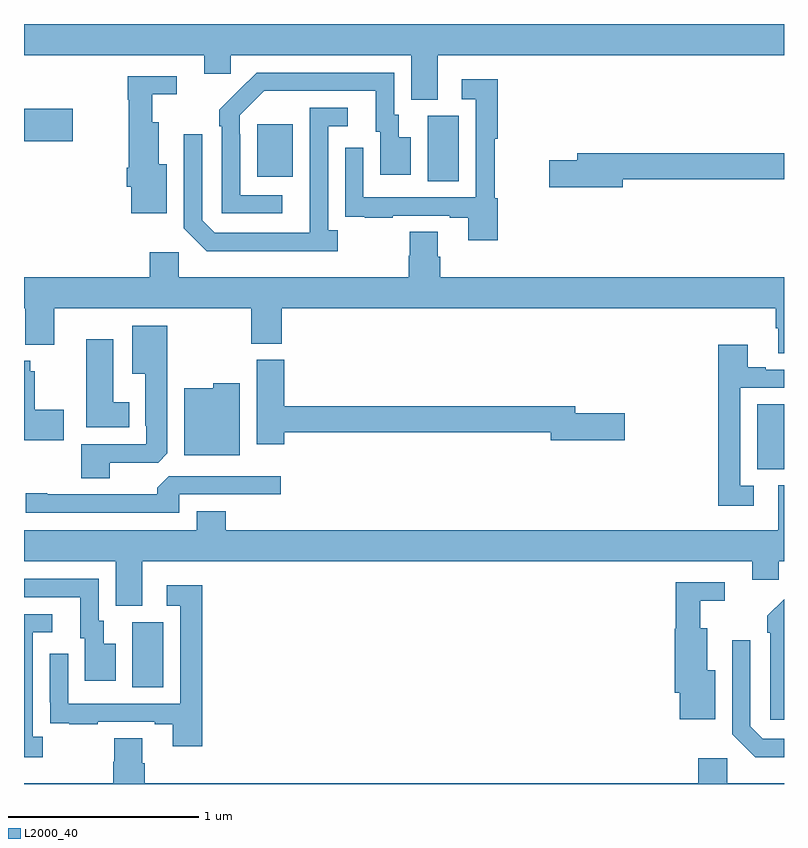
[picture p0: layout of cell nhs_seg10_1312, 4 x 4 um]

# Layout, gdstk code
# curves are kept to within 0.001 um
import gdstk
lib = gdstk.Library(unit=1e-6, precision=1e-09)
def R(c, l, rs):  # rectangles x0, y0, x1, y1
    for r in rs: c.add(gdstk.rectangle(r[:2], r[2:], *l))
def P(c, l, *ps):  # polygons
    for p in ps: c.add(gdstk.Polygon(p, *l))
L2000_40 = (2000, 40)

nhs_seg10_1312 = lib.new_cell('nhs_seg10_1312')
R(nhs_seg10_1312, L2000_40, [(179.57,1277.008,179.734,1277.352), (182.858,1278.157,183,1278.5), (181.124,1279.672,181.288,1280.016), (180.227,1279.697,180.415,1279.972), (179,1279.883,179.257,1280.053)])
P(nhs_seg10_1312, L2000_40, [(179,1280.336),(179.948,1280.336),(179.948,1280.238),(180.087,1280.238),(180.087,1280.336),(181.037,1280.336),(181.037,1280.101),(181.177,1280.101),(181.177,1280.336),(183,1280.336),(183,1280.5),(179,1280.5)],
  [(180.358,1279.599),(180.138,1279.599),(180.138,1279.919),(180.135,1279.919),(180.135,1280.019),(180.264,1280.148),(180.851,1280.148),(180.851,1279.932),(180.875,1279.932),(180.875,1279.707),(181.036,1279.707),(181.036,1279.903),(180.973,1279.903),(180.973,1280.022),(180.948,1280.022),(180.948,1280.244),(180.224,1280.244),(180.027,1280.049),(180.027,1279.961),(180.042,1279.961),(180.042,1279.503),(180.358,1279.503)],
  [(179.752,1279.762),(179.71,1279.762),(179.71,1279.984),(179.674,1279.984),(179.674,1280.129),(179.803,1280.129),(179.803,1280.226),(179.545,1280.226),(179.545,1280.102),(179.552,1280.102),(179.552,1279.744),(179.54,1279.744),(179.54,1279.644),(179.564,1279.644),(179.564,1279.505),(179.752,1279.505)],
  [(181.493,1279.584),(181.478,1279.584),(181.478,1279.896),(181.493,1279.896),(181.493,1280.209),(181.305,1280.209),(181.305,1280.103),(181.377,1280.103),(181.377,1279.587),(180.786,1279.587),(180.786,1279.849),(180.69,1279.849),(180.69,1279.594),(180.691,1279.594),(180.691,1279.485),(180.793,1279.485),(180.793,1279.479),(180.941,1279.479),(180.941,1279.491),(181.241,1279.491),(181.241,1279.479),(181.337,1279.479),(181.337,1279.362),(181.493,1279.362)],
  [(180.652,1279.414),(180.6,1279.414),(180.6,1279.962),(180.703,1279.962),(180.703,1280.058),(180.504,1280.058),(180.503,1279.401),(180.003,1279.401),(179.937,1279.467),(179.937,1279.921),(179.841,1279.921),(179.841,1279.425),(179.962,1279.304),(180.652,1279.304)],
  [(182.152,1279.684),(183,1279.684),(183,1279.82),(181.913,1279.82),(181.913,1279.784),(181.764,1279.784),(181.764,1279.642),(182.152,1279.642)],
  [(183,1279.168),(181.19,1279.168),(181.19,1279.274),(181.177,1279.274),(181.177,1279.406),(181.03,1279.406),(181.03,1279.281),(181.025,1279.281),(181.025,1279.168),(179.814,1279.168),(179.814,1279.3),(179.663,1279.3),(179.663,1279.168),(179,1279.168),(179,1279.004),(179.006,1279.004),(179.006,1278.812),(179.158,1278.812),(179.158,1279.004),(180.196,1279.004),(180.196,1278.817),(180.356,1278.817),(180.356,1279.004),(182.957,1279.004),(182.957,1278.898),(182.969,1278.898),(182.969,1278.766),(183,1278.766)],
  [(179.452,1278.192),(179.706,1278.192),(179.755,1278.241),(179.755,1278.913),(179.57,1278.913),(179.57,1278.659),(179.639,1278.659),(179.639,1278.385),(179.643,1278.385),(179.643,1278.288),(179.3,1278.288),(179.3,1278.109),(179.452,1278.109)],
  [(179.554,1278.508),(179.47,1278.508),(179.47,1278.841),(179.327,1278.841),(179.327,1278.377),(179.554,1278.377)],
  [(182.842,1278.069),(182.769,1278.069),(182.769,1278.585),(183,1278.585),(183,1278.681),(182.905,1278.681),(182.905,1278.694),(182.809,1278.694),(182.809,1278.811),(182.653,1278.811),(182.653,1277.964),(182.842,1277.964)],
  [(180.371,1278.352),(181.772,1278.352),(181.772,1278.31),(182.161,1278.31),(182.161,1278.452),(181.9,1278.452),(181.9,1278.488),(180.371,1278.488),(180.371,1278.732),(180.224,1278.732),(180.224,1278.288),(180.371,1278.288)],
  [(179.209,1278.471),(179.056,1278.471),(179.056,1278.673),(179.034,1278.673),(179.034,1278.727),(179,1278.727),(179,1278.308),(179.209,1278.308)],
  [(180.136,1278.61),(179.997,1278.61),(179.997,1278.583),(179.843,1278.583),(179.843,1278.23),(180.136,1278.23)],
  [(179.817,1278.024),(180.352,1278.024),(180.352,1278.12),(179.763,1278.12),(179.702,1278.058),(179.702,1278.024),(179.122,1278.024),(179.122,1278.029),(179.01,1278.029),(179.01,1277.928),(179.817,1277.928)],
  [(179.623,1277.672),(182.834,1277.672),(182.834,1277.574),(182.973,1277.574),(182.973,1277.672),(183,1277.672),(183,1278.072),(182.969,1278.072),(182.969,1277.836),(180.062,1277.836),(180.062,1277.935),(179.909,1277.935),(179.909,1277.836),(179,1277.836),(179,1277.672),(179.483,1277.672),(179.483,1277.437),(179.623,1277.437)],
  [(179.482,1277.239),(179.419,1277.239),(179.419,1277.358),(179.394,1277.358),(179.394,1277.58),(179,1277.58),(179,1277.484),(179.297,1277.484),(179.297,1277.268),(179.321,1277.268),(179.321,1277.043),(179.482,1277.043)],
  [(182.638,1277.098),(182.596,1277.098),(182.596,1277.32),(182.56,1277.32),(182.56,1277.465),(182.689,1277.465),(182.689,1277.562),(182.431,1277.562),(182.431,1277.316),(182.426,1277.316),(182.426,1276.98),(182.45,1276.98),(182.45,1276.841),(182.638,1276.841)],
  [(179.939,1277.545),(179.751,1277.545),(179.751,1277.439),(179.823,1277.439),(179.823,1276.923),(179.232,1276.923),(179.232,1277.185),(179.136,1277.185),(179.136,1276.93),(179.137,1276.93),(179.137,1276.821),(179.239,1276.821),(179.239,1276.815),(179.387,1276.815),(179.387,1276.827),(179.687,1276.827),(179.687,1276.815),(179.783,1276.815),(179.783,1276.698),(179.939,1276.698)],
  [(183,1277.472),(182.913,1277.385),(182.913,1277.297),(182.928,1277.297),(182.928,1276.839),(183,1276.839)],
  [(179.098,1276.75),(179.046,1276.75),(179.046,1277.298),(179.149,1277.298),(179.149,1277.394),(179,1277.394),(179,1276.64),(179.098,1276.64)],
  [(183,1276.737),(182.889,1276.737),(182.823,1276.803),(182.823,1277.257),(182.727,1277.257),(182.727,1276.761),(182.848,1276.64),(183,1276.64)],
  [(183,1276.504),(182.7,1276.504),(182.7,1276.636),(182.549,1276.636),(182.549,1276.504),(179.636,1276.504),(179.636,1276.61),(179.623,1276.61),(179.623,1276.742),(179.476,1276.742),(179.476,1276.617),(179.471,1276.617),(179.471,1276.504),(179,1276.504),(179,1276.5),(183,1276.5)])

lib.write_gds('nhs_seg10_1312.gds')
